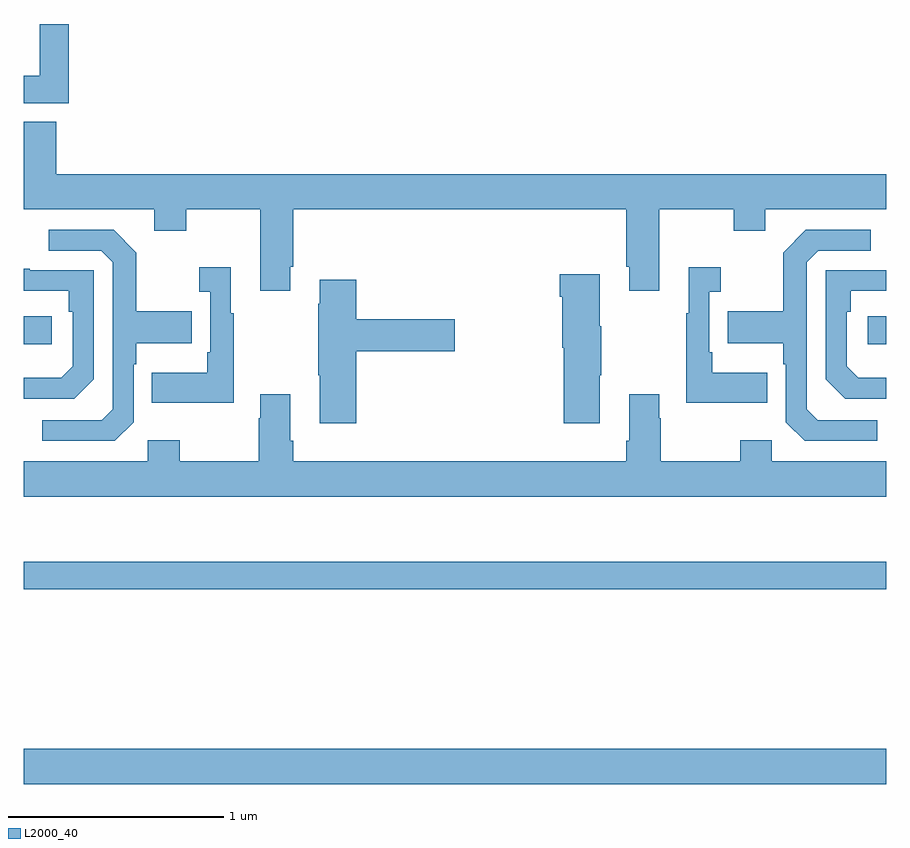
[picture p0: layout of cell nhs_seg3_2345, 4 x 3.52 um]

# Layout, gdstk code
import gdstk
lib = gdstk.Library(unit=1e-6, precision=1e-09)
def R(c, l, rs):  # rectangles x0, y0, x1, y1
    for r in rs: c.add(gdstk.rectangle(r[:2], r[2:], *l))
def P(c, l, *ps):  # polygons
    for p in ps: c.add(gdstk.Polygon(p, *l))
L2000_40 = (2000, 40)

nhs_seg3_2345 = lib.new_cell('nhs_seg3_2345')
R(nhs_seg3_2345, L2000_40, [(231,740.876,235,741.04), (231,741.778,235,741.907), (231,742.916,231.13,743.046), (234.915,742.916,235,743.046)])
P(nhs_seg3_2345, L2000_40, [(231.209,744.4),(231.074,744.4),(231.074,744.16),(231,744.16),(231,744.032),(231.209,744.032)],
  [(232.237,743.275),(232.25,743.275),(232.25,743.54),(233.795,743.54),(233.795,743.275),(233.807,743.275),(233.807,743.163),(233.947,743.163),(233.947,743.54),(234.292,743.54),(234.292,743.441),(234.439,743.441),(234.439,743.54),(235,743.54),(235,743.704),(231.152,743.704),(231.152,743.947),(231,743.947),(231,743.54),(231.605,743.54),(231.605,743.441),(231.753,743.441),(231.753,743.54),(232.097,743.54),(232.097,743.163),(232.237,743.163)],
  [(234.958,742.563),(234.681,742.563),(234.63,742.614),(234.63,743.295),(234.684,743.349),(234.928,743.349),(234.928,743.445),(234.627,743.445),(234.522,743.339),(234.522,743.067),(234.265,743.067),(234.265,742.919),(234.522,742.919),(234.522,742.823),(234.534,742.823),(234.534,742.554),(234.621,742.467),(234.958,742.467)],
  [(231.51,742.554),(231.51,742.823),(231.523,742.823),(231.523,742.919),(231.779,742.919),(231.779,743.067),(231.523,743.067),(231.523,743.339),(231.417,743.445),(231.117,743.445),(231.117,743.349),(231.36,743.349),(231.414,743.295),(231.414,742.614),(231.363,742.563),(231.087,742.563),(231.087,742.467),(231.423,742.467)],
  [(231.973,743.059),(231.961,743.059),(231.961,743.272),(231.813,743.272),(231.813,743.159),(231.864,743.159),(231.864,742.879),(231.852,742.879),(231.852,742.783),(231.595,742.783),(231.595,742.643),(231.973,742.643)],
  [(234.449,742.783),(234.193,742.783),(234.193,742.879),(234.18,742.879),(234.18,743.159),(234.232,743.159),(234.232,743.272),(234.083,743.272),(234.083,743.059),(234.072,743.059),(234.072,742.643),(234.449,742.643)],
  [(231.324,742.752),(231.324,743.259),(231.029,743.259),(231.029,743.264),(231,743.264),(231,743.163),(231.208,743.163),(231.208,743.066),(231.228,743.066),(231.228,742.812),(231.175,742.759),(231,742.759),(231,742.662),(231.234,742.662)],
  [(235,742.759),(234.869,742.759),(234.816,742.812),(234.816,743.066),(234.836,743.066),(234.836,743.163),(235,743.163),(235,743.259),(234.72,743.259),(234.72,742.752),(234.81,742.662),(235,742.662)],
  [(233.671,742.771),(233.679,742.771),(233.679,742.999),(233.671,742.999),(233.671,743.239),(233.486,743.239),(233.486,743.135),(233.498,743.135),(233.498,742.899),(233.504,742.899),(233.504,742.548),(233.671,742.548)],
  [(232.541,742.883),(232.999,742.883),(232.999,743.03),(232.541,743.03),(232.541,743.215),(232.373,743.215),(232.373,743.102),(232.366,743.102),(232.366,742.771),(232.373,742.771),(232.373,742.548),(232.541,742.548)],
  [(235,742.372),(234.468,742.372),(234.468,742.471),(234.322,742.471),(234.322,742.372),(233.955,742.372),(233.955,742.571),(233.947,742.571),(233.947,742.684),(233.807,742.684),(233.807,742.468),(233.795,742.468),(233.795,742.372),(232.25,742.372),(232.25,742.468),(232.237,742.468),(232.237,742.684),(232.097,742.684),(232.097,742.571),(232.09,742.571),(232.09,742.372),(231.723,742.372),(231.723,742.471),(231.576,742.471),(231.576,742.372),(231,742.372),(231,742.208),(235,742.208)])

lib.write_gds('nhs_seg3_2345.gds')
